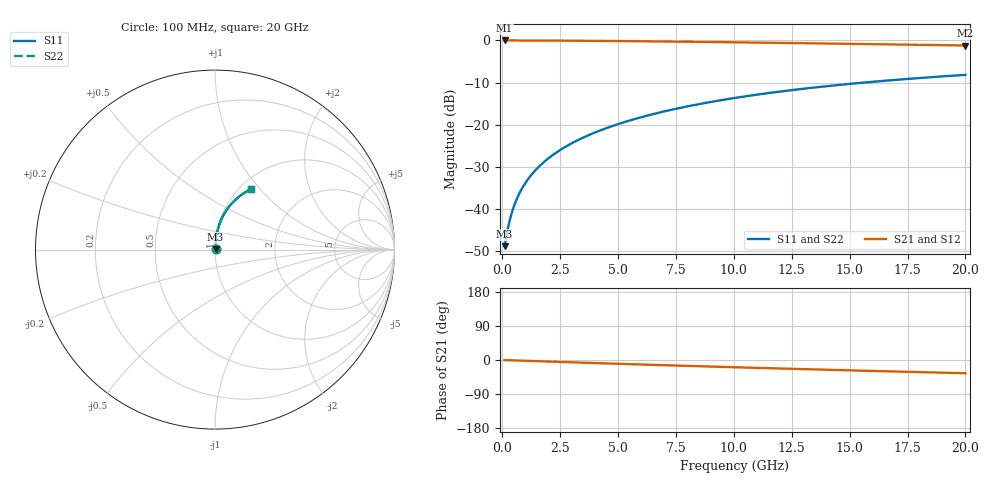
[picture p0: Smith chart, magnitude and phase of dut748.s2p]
! Touchstone file exported from HFSS 2024.1.0
!  File:  C:/UserFiles/LocalFiles/RDL_TSV_Batchsim/temp_RDL_bottom_748_1779859644.aedt
!  Generated:  01:29:56 PM May 27, 2026
!  Design:  RDL_bottom
!  Project:  temp_RDL_bottom_748_1779859644
!  Setup:  Setup1
!  Solution:  Sweep
! Variables:
!  dtsv = 10.80580581um
!  hbump = 3um
!  htsv = 58.53um
!  ldown = 425.29um
!  lrdl = 100um
!  p = 40
!  p1 = 57.83um
!  rhole = 1um
!  t = 450um
!  tdown = 2.93um
!  trdl = 3.915915916um
!  wdown = 18.62um
!  wrdl = 20um
# GHz S MA R 50.000000
! Terminal data exported
! Port[1] = RDL1_T1
! Port[2] = RDL1_T2
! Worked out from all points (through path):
!   200 points, 100 MHz to 20 GHz, reference 50 ohm
!   highest |S21| = -0.03 dB at 100 MHz (marker M1); lowest = -1.2 dB at 20 GHz (marker M2)
!   group delay of S21, straight-line fit = 4.83 ps
!   lowest |S11| = -48.8 dB at 100 MHz (marker M3), VSWR 1.01, Z = 50.3 + j0.212 ohm
!   |S11| at or under -10 dB: start of sweep to 15.63 GHz
!   |S22| runs from -48.8 to -8.2 dB; largest |S21 - S12| = 2.1e-15
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0.1  0.003644 35.4  0.997 -0.2  0.997 -0.2  0.003644 35.4
! Gamma 0 0 0 0
! Port Impedance 50 0 50 0
0.2  0.005188 54.1  0.9969 -0.4  0.9969 -0.4  0.005188 54.1
0.3  0.007 63.3  0.9968 -0.6  0.9968 -0.6  0.007 63.3
0.4  0.008891 68.5  0.9967 -0.8  0.9967 -0.8  0.008891 68.5
0.5  0.0108 71.8  0.9965 -1.0  0.9965 -1.0  0.0108 71.8
0.6  0.01273 74.2  0.9964 -1.3  0.9964 -1.3  0.01273 74.2
0.8  0.01659 77.2  0.9961 -1.7  0.9961 -1.7  0.01659 77.2
1.1  0.02242 79.9  0.9956 -2.3  0.9956 -2.3  0.02242 79.9
1.5  0.03027 81.8  0.9948 -3.1  0.9948 -3.1  0.03027 81.8
1.8  0.03622 82.6  0.9941 -3.7  0.9941 -3.7  0.03622 82.6
2.1  0.0422 83.1  0.9933 -4.3  0.9933 -4.3  0.0422 83.1
2.7  0.05428 83.6  0.9914 -5.5  0.9914 -5.5  0.05428 83.6
3.5  0.07061 83.6  0.9883 -7.1  0.9883 -7.1  0.07061 83.6
4.2  0.08508 83.2  0.9851 -8.5  0.9851 -8.5  0.08508 83.2
5  0.1018 82.5  0.981 -10.0  0.981 -10.0  0.1018 82.5
5.9  0.1208 81.5  0.9759 -11.7  0.9759 -11.7  0.1208 81.5
6.8  0.1398 80.4  0.9703 -13.4  0.9703 -13.4  0.1398 80.4
8.4  0.1736 78.0  0.9597 -16.3  0.9597 -16.3  0.1736 78.0
10.1  0.209 75.3  0.9476 -19.3  0.9476 -19.3  0.209 75.3
13.4  0.2748 69.9  0.9225 -24.8  0.9225 -24.8  0.2748 69.9
16.7  0.3353 64.5  0.8961 -30.0  0.8961 -30.0  0.3353 64.5
20  0.3899 59.5  0.8689 -34.9  0.8689 -34.9  0.3899 59.5
